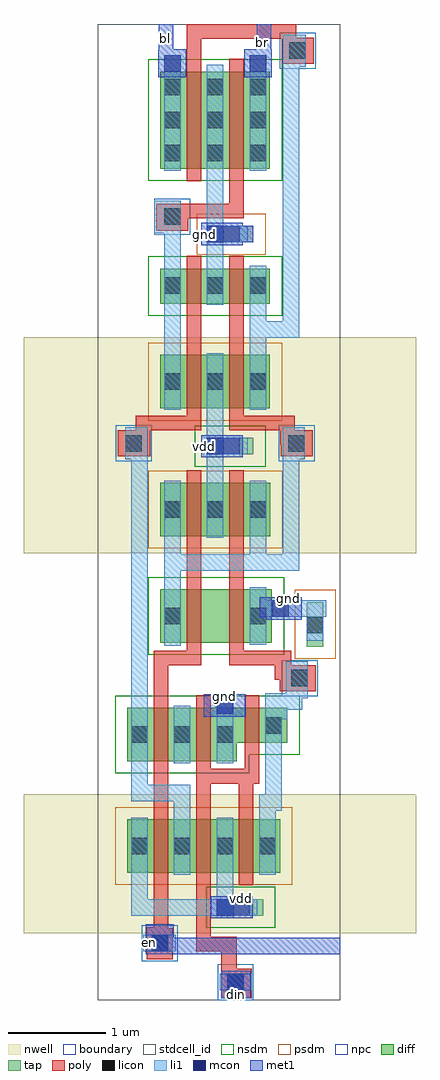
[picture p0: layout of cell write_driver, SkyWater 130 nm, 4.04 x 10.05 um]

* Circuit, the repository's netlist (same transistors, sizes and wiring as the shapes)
*********************** "write_driver" ******************************

.SUBCKT write_driver din bl br en vdd gnd

**** Inverter to conver Data_in to data_in_bar ******
* din_bar = inv(din)
M_1 din_bar din gnd gnd nshort W=0.36 L=0.15
M_2 din_bar din vdd vdd pshort W=0.55 L=0.15

**** 2input nand gate follwed by inverter to drive BL ******
* din_bar_gated = nand(en, din)
M_3 din_bar_gated en net_7 gnd nshort W=0.55 L=0.15
M_4 net_7 din gnd gnd nshort W=0.55 L=0.15
M_5 din_bar_gated en vdd vdd pshort W=0.55 L=0.15
M_6 din_bar_gated din vdd vdd pshort W=0.55 L=0.15
* din_bar_gated_bar = inv(din_bar_gated)
M_7 din_bar_gated_bar din_bar_gated vdd vdd pshort W=0.55 L=0.15
M_8 din_bar_gated_bar din_bar_gated gnd gnd nshort W=0.36 L=0.15

**** 2input nand gate follwed by inverter to drive BR******
* din_gated = nand(en, din_bar)
M_9 din_gated en vdd vdd pshort W=0.55 L=0.15
M_10 din_gated en net_8 gnd nshort W=0.55 L=0.15
M_11 net_8 din_bar gnd gnd nshort W=0.55 L=0.15
M_12 din_gated din_bar vdd vdd pshort W=0.55 L=0.15
* din_gated_bar = inv(din_gated)
M_13 din_gated_bar din_gated vdd vdd pshort W=0.55 L=0.15
M_14 din_gated_bar din_gated gnd gnd nshort W=0.36 L=0.15

************************************************
* pull down with en enable
M_15 bl din_gated_bar gnd gnd nshort W=1 L=0.15
M_16 br din_bar_gated_bar gnd gnd nshort W=1 L=0.15

.ENDS write_driver

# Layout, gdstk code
import gdstk
lib = gdstk.Library(unit=1e-6, precision=1e-09)
def R(c, l, rs):  # rectangles x0, y0, x1, y1
    for r in rs: c.add(gdstk.rectangle(r[:2], r[2:], *l))
def A(c, l, x, y, w, h, nx, ny, dx, dy):  # array of equal rectangles
    R(c, l, [(x+i*dx, y+j*dy, x+i*dx+w, y+j*dy+h) for i in range(nx) for j in range(ny)])
nwell = (64, 20)
diff = (65, 20)
tap = (65, 44)
poly = (66, 20)
licon = (66, 44)
li1 = (67, 20)
mcon = (67, 44)
met1 = (68, 20)
stdcell_id = (81, 4)
nsdm = (93, 44)
psdm = (94, 20)
npc = (95, 20)
boundary = (235, 4)

write_driver = lib.new_cell('write_driver')
R(write_driver, nwell, [(-0.76,0.69,3.28,2.11), (-0.76,2.11,3.27,2.12), (-0.76,4.6,3.28,6.83)])
R(write_driver, diff, [(0.305,1.31,1.88,1.86), (0.305,2.46,1.435,2.65), (0.305,2.65,1.955,3.01), (0.645,3.68,1.795,4.23), (0.645,4.78,1.78,5.33), (0.645,6.095,1.775,6.645), (0.645,7.175,1.775,7.535), (0.645,8.565,1.775,9.565)])
R(write_driver, tap, [(1.245,0.87,1.705,1.04), (2.155,3.64,2.325,4.1), (1.125,5.62,1.605,5.79), (1.145,7.805,1.605,7.975)])
R(write_driver, poly, [(1.275,0.02,1.585,0.32), (1.275,0.32,1.435,0.5), (0.505,0.42,0.775,0.74), (1.015,0.5,1.435,0.65), (1.015,0.65,1.165,2.23), (0.505,0.74,0.725,0.75), (0.575,0.75,0.725,3.45), (1.455,1.18,1.605,2.23), (1.015,2.23,1.665,2.38), (1.015,2.38,1.165,3.14), (1.515,2.38,1.665,3.14), (1.875,3.18,2.245,3.3), (1.825,3.3,2.245,3.45), (0.575,3.45,1.065,3.6), (1.355,3.45,1.995,3.6), (0.915,3.6,1.065,5.46), (1.355,3.6,1.505,5.46), (0.205,5.6,0.54,5.87), (1.885,5.6,2.215,5.72), (1.88,5.72,2.215,5.87), (0.39,5.87,1.065,6.02), (1.355,5.87,2.03,6.02), (0.915,6.02,1.065,7.665), (1.355,6.02,1.505,7.665), (0.605,7.925,0.935,8.055), (0.605,8.055,1.505,8.205), (1.355,8.205,1.505,9.695), (0.915,8.435,1.065,9.905), (1.895,9.645,2.225,9.905), (0.915,9.905,2.225,9.915), (0.915,9.915,2.045,10.055)])
A(write_driver, licon, 0.345, 1.5, 0.17, 0.17, 4, 1, 0.44, 0)
A(write_driver, licon, 0.345, 2.65, 0.17, 0.17, 3, 1, 0.44, 0)
A(write_driver, licon, 0.685, 4.97, 0.17, 0.17, 3, 2, 0.44, 1.315)
A(write_driver, licon, 0.685, 7.275, 0.17, 0.17, 3, 2, 0.44, 1.365)
A(write_driver, licon, 0.685, 8.98, 0.17, 0.17, 3, 2, 0.44, 0.34)
R(write_driver, licon, [(1.335,0.1,1.505,0.27), (0.555,0.5,0.725,0.67), (1.395,0.87,1.565,1.04), (1.725,2.745,1.895,2.915), (1.995,3.23,2.165,3.4), (2.155,3.78,2.325,3.95), (0.685,3.87,0.855,4.04), (1.565,3.87,1.735,4.04), (1.295,5.62,1.465,5.79), (0.285,5.65,0.455,5.82), (1.965,5.65,2.135,5.82), (1.295,7.805,1.465,7.975), (0.685,7.985,0.855,8.155), (1.975,9.695,2.145,9.865)])
R(write_driver, li1, [(1.255,0.1,1.585,0.27), (0.47,0.5,0.805,0.67), (1.225,0.84,1.395,0.87), (0.345,0.87,1.645,1.04), (0.345,1.04,0.515,1.88), (1.225,1.04,1.395,1.88), (0.785,1.29,0.955,2.05), (1.665,1.29,1.835,1.95), (1.665,1.95,1.895,2.12), (0.345,2.05,0.955,2.22), (1.725,2.12,1.895,2.89), (0.345,2.22,0.515,5.57), (0.785,2.44,0.955,3.03), (1.225,2.44,1.395,3.12), (1.725,2.89,1.955,2.99), (1.725,2.99,2.105,3.11), (1.725,3.11,2.165,3.16), (1.935,3.16,2.165,3.49), (0.685,3.65,0.855,4.42), (1.565,3.66,1.735,3.95), (2.155,3.7,2.325,3.95), (1.565,3.95,2.355,4.12), (1.565,4.12,1.735,4.25), (0.685,4.42,2.075,4.59), (0.685,4.59,0.855,5.35), (1.565,4.59,1.735,5.35), (1.905,4.59,2.075,5.57), (1.125,4.76,1.295,5.62), (0.285,5.57,0.515,5.9), (1.905,5.57,2.135,5.9), (1.125,5.62,1.545,5.79), (1.125,5.79,1.295,6.665), (0.685,6.08,0.855,7.9), (1.565,6.08,1.735,6.825), (1.565,6.825,2.075,6.995), (1.565,6.995,1.735,7.565), (1.905,6.995,2.075,9.615), (1.125,7.165,1.295,7.805), (1.125,7.805,1.545,7.975), (0.585,7.9,0.855,8.235), (1.125,7.975,1.295,9.635), (0.685,8.545,0.855,9.735), (1.565,8.545,1.735,9.735), (1.905,9.615,2.145,9.945)])
R(write_driver, mcon, [(1.335,0.1,1.505,0.27), (0.555,0.5,0.725,0.67), (1.225,0.87,1.395,1.04), (1.225,2.95,1.395,3.12), (1.8,3.95,1.97,4.12), (1.125,5.62,1.295,5.79), (1.125,7.805,1.295,7.975), (0.685,9.565,0.855,9.735), (1.565,9.565,1.735,9.735)])
R(write_driver, met1, [(1.275,0.02,1.575,0.3), (0.495,0.47,2.5,0.64), (0.495,0.64,0.785,0.78), (1.165,0.84,1.595,1.07), (1.095,2.92,1.525,3.15), (1.735,3.92,2.1,3.945), (1.67,3.945,2.1,4.15), (1.065,5.59,1.495,5.82), (1.065,7.775,1.495,7.805), (1.065,7.805,1.605,7.975), (1.065,7.975,1.495,8.005), (0.625,9.505,0.91,9.795), (1.51,9.505,1.795,9.795), (0.63,9.795,0.78,10.055), (1.64,9.795,1.79,10.055)])
R(write_driver, stdcell_id, [(0,0,2.5,10.055)])
R(write_driver, nsdm, [(1.12,0.745,1.83,1.165), (0.18,2.335,1.56,2.525), (0.18,2.525,2.08,3.135), (0.52,3.555,1.92,4.355), (1,5.495,1.73,5.915), (0.52,7.05,1.9,7.66), (0.52,8.44,1.9,9.69)])
R(write_driver, psdm, [(0.18,1.185,2.005,1.985), (2.03,3.515,2.45,4.225), (0.52,4.655,1.905,5.455), (0.52,5.97,1.9,6.77), (1.02,7.68,1.73,8.1)])
R(write_driver, npc, [(1.235,0,1.605,0.37), (0.455,0.4,0.825,0.77), (1.895,3.13,2.265,3.5), (0.185,5.55,0.555,5.92), (1.865,5.55,2.235,5.92), (0.585,7.885,0.955,8.255), (1.875,9.595,2.245,9.965)])
R(write_driver, boundary, [(0,0,2.5,10.055)])
write_driver.add(gdstk.Label('en', (0.53,0.59), layer=68, texttype=16))
write_driver.add(gdstk.Label('vdd', (1.48,1.05), layer=68, texttype=16))
write_driver.add(gdstk.Label('din', (1.425,0.06), layer=68, texttype=16))
write_driver.add(gdstk.Label('gnd', (1.31,3.13), layer=68, texttype=16))
write_driver.add(gdstk.Label('gnd', (1.965,4.135), layer=68, texttype=16))
write_driver.add(gdstk.Label('vdd', (1.1,5.7), layer=68, texttype=16))
write_driver.add(gdstk.Label('br', (1.7,9.865), layer=68, texttype=16))
write_driver.add(gdstk.Label('bl', (0.7,9.905), layer=68, texttype=16))
write_driver.add(gdstk.Label('gnd', (1.1,7.885), layer=68, texttype=16))

lib.write_gds('write_driver.gds')
